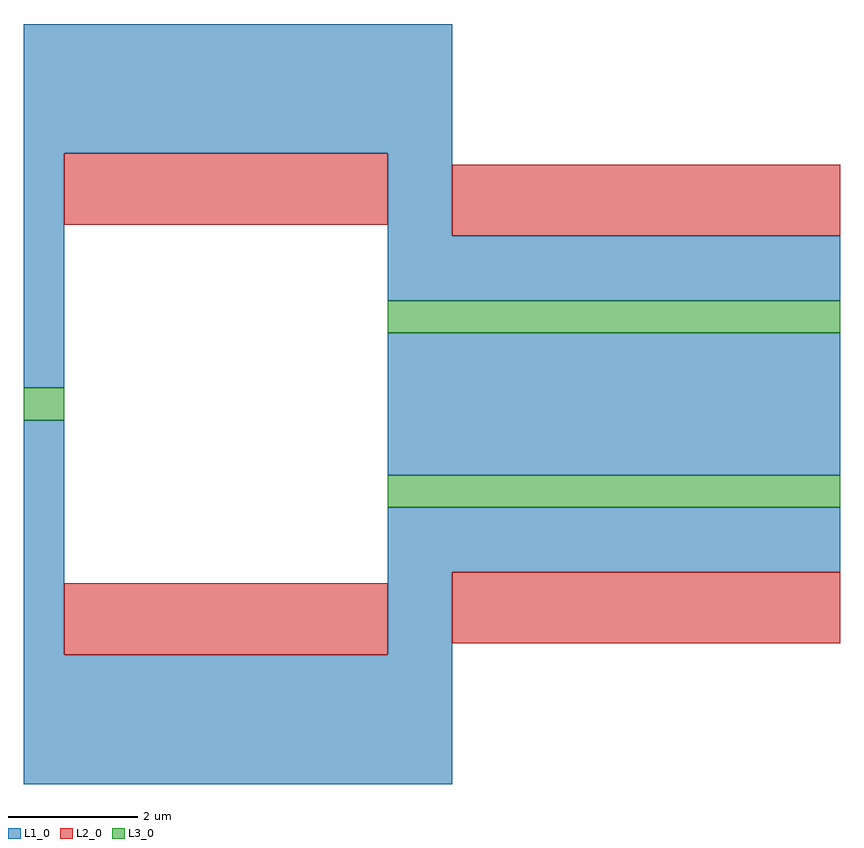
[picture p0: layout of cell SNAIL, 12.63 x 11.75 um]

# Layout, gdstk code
import gdstk
lib = gdstk.Library(unit=1e-6, precision=1e-09)
def R(c, l, rs):  # rectangles x0, y0, x1, y1
    for r in rs: c.add(gdstk.rectangle(r[:2], r[2:], *l))
def P(c, l, *ps):  # polygons
    for p in ps: c.add(gdstk.Polygon(p, *l))
L1_0 = (1, 0)
L2_0 = (2, 0)
L3_0 = (3, 0)

snail = lib.new_cell('SNAIL')
R(snail, L1_0, [(5.63,-6.975,12.63,-4.775)])
P(snail, L1_0, [(0,0),(6.63,0),(6.63,-3.275),(12.63,-3.275),(12.63,-4.275),(5.63,-4.275),(5.63,-2),(0.63,-2),(0.63,-5.625),(0,-5.625),(0,-4.625),(0,-4.625)],
  [(0,-11.75),(6.63,-11.75),(6.63,-8.475),(12.63,-8.475),(12.63,-7.475),(5.63,-7.475),(5.63,-9.75),(0.63,-9.75),(0.63,-6.125),(0,-6.125),(0,-7.125),(0,-7.125)])
R(snail, L2_0, [(0.63,-9.75,5.63,-8.65), (6.63,-9.575,12.63,-8.475), (6.63,-3.275,12.63,-2.175), (0.63,-3.1,5.63,-2)])
R(snail, L3_0, [(5.63,-7.475,12.63,-6.975), (0,-6.125,0.63,-5.625), (5.63,-4.775,12.63,-4.275)])

lib.write_gds('SNAIL.gds')
